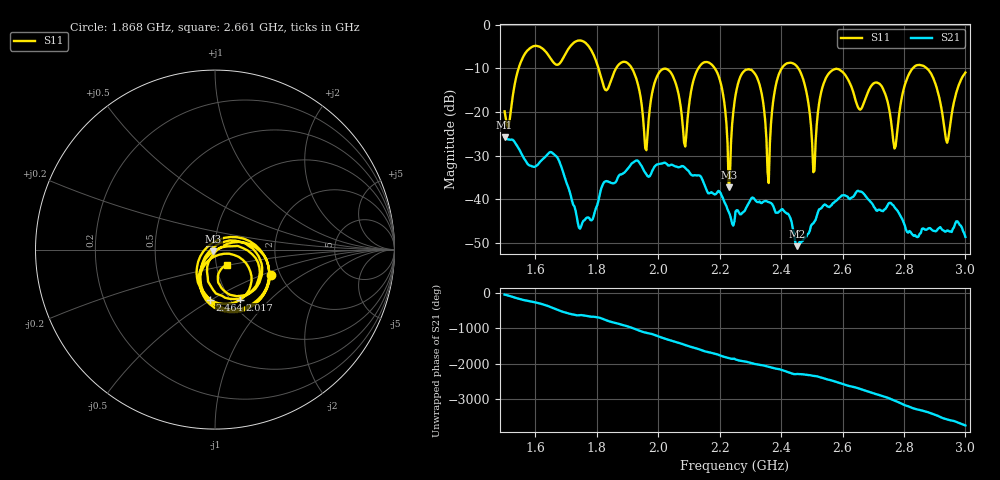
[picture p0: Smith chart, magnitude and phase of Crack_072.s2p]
# HZ S RI R 50
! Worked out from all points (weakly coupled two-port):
!   404 points, 1.5 GHz to 3 GHz, reference 50 ohm
!   highest |S21| = -25.77 dB at 1.5 GHz (marker M1); lowest = -50.7 dB at 2.453 GHz (marker M2)
!   lowest |S11| = -37.3 dB at 2.23 GHz (marker M3), VSWR 1.03, Z = 49.1 - j0.981 ohm
!   |S11| at or under -10 dB: 1.915 GHz to 2.13 GHz (215.7 MHz wide, 10.7 % of centre); 2.184 GHz to 2.402 GHz (217.5 MHz wide, 9.49 % of centre); 2.457 GHz to 2.828 GHz (371.8 MHz wide, 14.1 % of centre) (the widest 3 of 6)
!   S12 and S22 are empty: the file has one direction only
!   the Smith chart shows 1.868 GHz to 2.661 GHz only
!   S11 on the Smith chart (normalised r, x): 1.868 GHz: 1.78, -0.57; 2.017 GHz: 1.10, -0.69; 2.464 GHz: 0.81, -0.50; 2.661 GHz: 1.12, -0.20
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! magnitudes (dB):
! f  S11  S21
! 1.5 GHz  -19.8  -25.8
! 1.753 GHz  -3.7  -45.4
! 1.868 GHz  -9.4  -35.0
! 1.962 GHz  -28.7  -34.3
! 2.002 GHz  -11.0  -31.9
! 2.017 GHz  -10.1  -31.6
! 2.088 GHz  -27.9  -32.8
! 2.181 GHz  -9.7  -38.8
! 2.23 GHz  -37.3  -42.9
! 2.252 GHz  -16.1  -42.8
! 2.315 GHz  -11.2  -40.1
! 2.36 GHz  -36.3  -40.6
! 2.393 GHz  -11.2  -42.8
! 2.453 GHz  -9.6  -50.7
! 2.464 GHz  -11.0  -50.0
! 2.501 GHz  -27.2  -45.7
! 2.565 GHz  -10.5  -41.3
! 2.661 GHz  -19.2  -38.3
! 2.751 GHz  -18.9  -40.9
! 2.862 GHz  -9.4  -46.7
! 2.94 GHz  -27.0  -47.1
! 3 GHz  -10.9  -48.6
